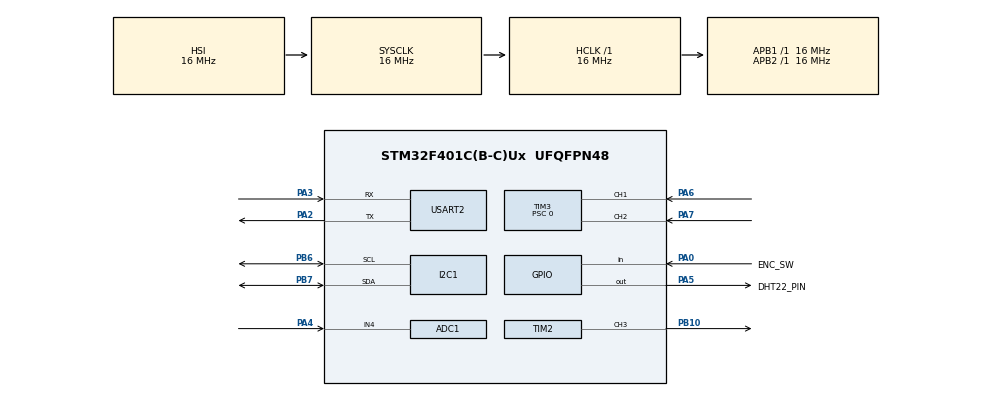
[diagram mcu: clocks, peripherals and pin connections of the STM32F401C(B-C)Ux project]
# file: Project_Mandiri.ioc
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ADC1.Channel-0\#ChannelRegularConversion=ADC_CHANNEL_4
ADC1.NbrOfConversionFlag=1
ADC1.Rank-0\#ChannelRegularConversion=1
ADC1.SamplingTime-0\#ChannelRegularConversion=ADC_SAMPLETIME_3CYCLES
ADC1.master=1
FREERTOS.BinarySemaphores01=RNGSemaphore,Dynamic,NULL,Available;BuzzerSemaphore,Dynamic,NULL,Available
FREERTOS.Mutexes01=I2CMutex,Dynamic,NULL,Available
FREERTOS.Tasks01=defaultTask,0,128,StartDefaultTask,Default,NULL,Dynamic,NULL,NULL;SensorTask,0,256,StartTaskSensor,Default,NULL,Dynamic,NULL,NULL;RNGTask,1,256,StartTaskRNG,Default,NULL,Dynamic,NULL,NULL;RotaryPageTask,0,128,StartTaskRotaryPage,Default,NULL,Dynamic,NULL,NULL;DisplayTask,-1,256,StartTaskDisplay,Default,NULL,Dynamic,NULL,NULL;EEPROMTask,-1,256,StartTaskEEPROM,Default,NULL,Dynamic,NULL,NULL;BuzzerTask,-1,128,StartTaskBuzzer,Default,NULL,Dynamic,NULL,NULL
FREERTOS.configUSE_NEWLIB_REENTRANT=1
I2C1.I2C_Mode=I2C_Fast
Mcu.Family=STM32F4
Mcu.Name=STM32F401C(B-C)Ux
Mcu.Package=UFQFPN48
NVIC.PriorityGroup=NVIC_PRIORITYGROUP_4
NVIC.TIM4_IRQn=true\:15\:0\:false\:false\:true\:false\:false\:true\:true
NVIC.TimeBase=TIM4_IRQn
NVIC.TimeBaseIP=TIM4
PA0-WKUP.GPIO_Label=ENC_SW
PA0-WKUP.GPIO_PuPd=GPIO_PULLUP
PA0-WKUP.Signal=GPIO_Input
PA2.Mode=Asynchronous
PA2.Signal=USART2_TX
PA3.Mode=Asynchronous
PA3.Signal=USART2_RX
PA4.Signal=ADCx_IN4
PA5.GPIO_Label=DHT22_PIN
PA5.GPIO_PuPd=GPIO_PULLUP
PA5.Signal=GPIO_Output
PA6.Signal=S_TIM3_CH1
PA7.Signal=S_TIM3_CH2
PB10.Signal=S_TIM2_CH3
PB6.Mode=I2C
PB6.Signal=I2C1_SCL
PB7.Mode=I2C
PB7.Signal=I2C1_SDA
ProjectManager.HeapSize=0x200
ProjectManager.StackSize=0x400
ProjectManager.TargetToolchain=STM32CubeIDE
RCC.AHBFreq_Value=16000000
RCC.APB1Freq_Value=16000000
RCC.APB2Freq_Value=16000000
RCC.CortexFreq_Value=16000000
RCC.HSE_VALUE=25000000
RCC.HSI_VALUE=16000000
RCC.LSE_VALUE=32768
RCC.SYSCLKFreq_VALUE=16000000
RCC.VCOOutputFreq_Value=192000000
SH.ADCx_IN4.0=ADC1_IN4,IN4
SH.S_TIM2_CH3.0=TIM2_CH3,PWM Generation3 CH3
SH.S_TIM3_CH1.0=TIM3_CH1,Encoder_Interface
SH.S_TIM3_CH2.0=TIM3_CH2,Encoder_Interface
TIM2.AutoReloadPreload=TIM_AUTORELOAD_PRELOAD_ENABLE
TIM2.Channel-PWM\ Generation3\ CH3=TIM_CHANNEL_3
TIM2.Period=1000-1
TIM2.Prescaler=84-1
TIM3.EncoderMode=TIM_ENCODERMODE_TI12
TIM3.Period=65535
TIM3.Prescaler=0
USART2.VirtualMode=VM_ASYNC
VP_FREERTOS_VS_CMSIS_V1.Mode=CMSIS_V1
VP_SYS_VS_tim4.Mode=TIM4
board=custom

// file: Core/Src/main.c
/* USER CODE BEGIN Header */
/**
  ******************************************************************************
  * @file           : main.c
  * @brief          : Main program body
  ******************************************************************************
  * @attention
  *
  * Copyright (c) 2026 STMicroelectronics.
  * All rights reserved.
  *
  * This software is licensed under terms that can be found in the LICENSE file
  * in the root directory of this software component.
  * If no LICENSE file comes with this software, it is provided AS-IS.
  *
  ******************************************************************************
  */
/* USER CODE END Header */
#include "main.h"
#include "cmsis_os.h"
#include "adc.h"
#include "i2c.h"
#include "tim.h"
#include "usart.h"
#include "gpio.h"

/* USER CODE BEGIN Includes */
#include <stdio.h>

/* USER CODE END Includes */

void SystemClock_Config(void);
void MX_FREERTOS_Init(void);

/* USER CODE BEGIN 0 */
#ifdef _GNUC_
int __io_putchar(int ch)
#else
int fputc(int ch, FILE *f)
#endif
{
    HAL_UART_Transmit(&huart2, (uint8_t *)&ch, 1, HAL_MAX_DELAY);
    return ch;
}

/* USER CODE END 0 */

int main(void)
{

  /* MCU Configuration--------------------------------------------------------*/

  /* Reset of all peripherals, Initializes the Flash interface and the Systick. */
  HAL_Init();

  /* Configure the system clock */
  SystemClock_Config();

  /* Initialize all configured peripherals */
  MX_GPIO_Init();
  MX_USART2_UART_Init();
  MX_TIM3_Init();
  MX_I2C1_Init();
  MX_TIM2_Init();
  MX_ADC1_Init();
  /* USER CODE BEGIN 2 */
  ssd1306_Init();
  HAL_TIM_Encoder_Start(&htim3, TIM_CHANNEL_ALL);

  /* USER CODE END 2 */

  /* Call init function for freertos objects (in cmsis_os2.c) */
  MX_FREERTOS_Init();

  /* Start scheduler */
  osKernelStart();

  /* We should never get here as control is now taken by the scheduler */

  /* Infinite loop */
  while (1)
  {

  }
}

void SystemClock_Config(void)
{
  RCC_OscInitTypeDef RCC_OscInitStruct = {0};
  RCC_ClkInitTypeDef RCC_ClkInitStruct = {0};

  /** Configure the main internal regulator output voltage
  */
  __HAL_RCC_PWR_CLK_ENABLE();
  __HAL_PWR_VOLTAGESCALING_CONFIG(PWR_REGULATOR_VOLTAGE_SCALE2);

  /** Initializes the RCC Oscillators according to the specified parameters
  * in the RCC_OscInitTypeDef structure.
  */
  RCC_OscInitStruct.OscillatorType = RCC_OSCILLATORTYPE_HSI;
  RCC_OscInitStruct.HSIState = RCC_HSI_ON;
  RCC_OscInitStruct.HSICalibrationValue = RCC_HSICALIBRATION_DEFAULT;
  RCC_OscInitStruct.PLL.PLLState = RCC_PLL_NONE;
  if (HAL_RCC_OscConfig(&RCC_OscInitStruct) != HAL_OK)
  {
    Error_Handler();
  }

  /** Initializes the CPU, AHB and APB buses clocks
  */
  RCC_ClkInitStruct.ClockType = RCC_CLOCKTYPE_HCLK|RCC_CLOCKTYPE_SYSCLK
                              |RCC_CLOCKTYPE_PCLK1|RCC_CLOCKTYPE_PCLK2;
  RCC_ClkInitStruct.SYSCLKSource = RCC_SYSCLKSOURCE_HSI;
  RCC_ClkInitStruct.AHBCLKDivider = RCC_SYSCLK_DIV1;
  RCC_ClkInitStruct.APB1CLKDivider = RCC_HCLK_DIV1;
  RCC_ClkInitStruct.APB2CLKDivider = RCC_HCLK_DIV1;

  if (HAL_RCC_ClockConfig(&RCC_ClkInitStruct, FLASH_LATENCY_0) != HAL_OK)
  {
    Error_Handler();
  }
}

void HAL_TIM_PeriodElapsedCallback(TIM_HandleTypeDef *htim)
{
  if (htim->Instance == TIM4)
  {
    HAL_IncTick();
  }
}

void Error_Handler(void)
{
  __disable_irq();
  while (1)
  {
  }
}

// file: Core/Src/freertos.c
/* USER CODE BEGIN Header */
/**
 ******************************************************************************
 * File Name          : freertos.c
 * Description        : Code for freertos applications
 ******************************************************************************
 * @attention
 *
 * Copyright (c) 2026 STMicroelectronics.
 * All rights reserved.
 *
 * This software is licensed under terms that can be found in the LICENSE file
 * in the root directory of this software component.
 * If no LICENSE file comes with this software, it is provided AS-IS.
 *
 ******************************************************************************
 */
/* USER CODE END Header */

#include "FreeRTOS.h"
#include "task.h"
#include "main.h"
#include "cmsis_os.h"

/* USER CODE BEGIN Includes */
#include "queue.h"
#include <stdio.h>
#include <string.h>
#include <stdlib.h>
#include "ssd1306.h"
#include "ssd1306_fonts.h"
#include "dice.h"
#include "coin.h"

/* USER CODE END Includes */

/* USER CODE BEGIN PTD */
typedef enum {
	DHT_OK = 0,
  DHT_ERR_TIMEOUT,
  DHT_ERR_CHECKSUM
} DHT_Status;

typedef enum {
	PAGE_DICE = 0,
  PAGE_COIN,
	PAGE_INFOS,
  PAGE_HISTORY
} page_t;

typedef enum {
  MODE_DICE = 0,
  MODE_COIN
} generator_mode_t;

typedef enum {
  ANIM_NONE,
  ANIM_DICE,
  ANIM_COIN
} animation_t;

typedef struct {
	int16_t suhu;
	uint16_t kelembapan;
	uint16_t ldr;
} sensor_data_t;

typedef struct {
    generator_mode_t mode;
    uint32_t seed;
    uint32_t value;
    int16_t suhu;
    uint16_t kelembapan;
    uint16_t ldr;
} display_data_t;

typedef struct {
  generator_mode_t mode;
  uint8_t value;
  uint32_t timestamp;
} eeprom_data_t;

/* USER CODE END PTD */

/* USER CODE BEGIN PD */
#define DHT_TIMEOUT_US	100

/* USER CODE END PD */

/* USER CODE BEGIN Variables */

extern ADC_HandleTypeDef hadc1;
extern UART_HandleTypeDef huart2;
extern TIM_HandleTypeDef htim3;
extern I2C_HandleTypeDef hi2c1;
extern TIM_HandleTypeDef htim2;

QueueHandle_t SensorQueueHandle;
QueueHandle_t DisplayQueueHandle;
QueueHandle_t EEPROMQueueHandle;

volatile page_t currentPage = PAGE_DICE;
volatile generator_mode_t currentMode = MODE_DICE;
volatile animation_t currentAnimation = ANIM_NONE;
volatile uint8_t show_encrypted = 0;

eeprom_data_t history_cache[5];
uint8_t history_count = 0;

// SAMPLE SECRET KEY
const uint8_t SECRET_KEY[8] = {0x5A, 0x3C, 0x7E, 0x18, 0x42, 0x81, 0xBD, 0xE7};

/* USER CODE END Variables */
osThreadId defaultTaskHandle;
osThreadId SensorTaskHandle;
osThreadId RNGTaskHandle;
osThreadId RotaryPageTaskHandle;
osThreadId DisplayTaskHandle;
osThreadId EEPROMTaskHandle;
osThreadId BuzzerTaskHandle;
osMutexId I2CMutexHandle;
osSemaphoreId RNGSemaphoreHandle;
osSemaphoreId BuzzerSemaphoreHandle;

/* USER CODE BEGIN FunctionPrototypes */
void delay_us(uint16_t us);
void Set_Pin_Output(GPIO_TypeDef *GPIOx, uint16_t GPIO_Pin);
void Set_Pin_Input(GPIO_TypeDef *GPIOx, uint16_t GPIO_Pin);
static DHT_Status DHT22_WaitPinState(GPIO_TypeDef *GPIOx, uint16_t pin, GPIO_PinState state);
DHT_Status DHT22_Read(int16_t *suhu, uint16_t *kelembapan);

/* USER CODE END FunctionPrototypes */

void StartDefaultTask(void const * argument);
void StartTaskSensor(void const * argument);
void StartTaskRNG(void const * argument);
void StartTaskRotaryPage(void const * argument);
void StartTaskDisplay(void const * argument);
void StartTaskEEPROM(void const * argument);
void StartTaskBuzzer(void const * argument);

void MX_FREERTOS_Init(void); /* (MISRA C 2004 rule 8.1) */

/* GetIdleTaskMemory prototype (linked to static allocation support) */
void vApplicationGetIdleTaskMemory( StaticTask_t **ppxIdleTaskTCBBuffer, StackType_t **ppxIdleTaskStackBuffer, uint32_t *pulIdleTaskStackSize );

/* USER CODE BEGIN GET_IDLE_TASK_MEMORY */
static StaticTask_t xIdleTaskTCBBuffer;
static StackType_t xIdleStack[configMINIMAL_STACK_SIZE];

void vApplicationGetIdleTaskMemory(StaticTask_t **ppxIdleTaskTCBBuffer,
		StackType_t **ppxIdleTaskStackBuffer, uint32_t *pulIdleTaskStackSize) {
	*ppxIdleTaskTCBBuffer = &xIdleTaskTCBBuffer;
	*ppxIdleTaskStackBuffer = &xIdleStack[0];
	*pulIdleTaskStackSize = configMINIMAL_STACK_SIZE;
	/* place for user code */
}
/* USER CODE END GET_IDLE_TASK_MEMORY */

void MX_FREERTOS_Init(void) {
  /* Create the mutex(es) */
  /* definition and creation of I2CMutex */
  osMutexDef(I2CMutex);
  I2CMutexHandle = osMutexCreate(osMutex(I2CMutex));

  /* Create the semaphores(s) */
  /* definition and creation of RNGSemaphore */
  osSemaphoreDef(RNGSemaphore);
  RNGSemaphoreHandle = osSemaphoreCreate(osSemaphore(RNGSemaphore), 1);

  /* definition and creation of BuzzerSemaphore */
  osSemaphoreDef(BuzzerSemaphore);
  BuzzerSemaphoreHandle = osSemaphoreCreate(osSemaphore(BuzzerSemaphore), 1);

  /* USER CODE BEGIN RTOS_QUEUES */
	/* add queues, ... */
  SensorQueueHandle = xQueueCreate(1, sizeof(sensor_data_t));
  DisplayQueueHandle = xQueueCreate(1, sizeof(display_data_t));
  EEPROMQueueHandle = xQueueCreate(1, sizeof(eeprom_data_t));

  /* USER CODE END RTOS_QUEUES */

  /* Create the thread(s) */
  /* definition and creation of defaultTask */
  osThreadDef(defaultTask, StartDefaultTask, osPriorityNormal, 0, 128);
  defaultTaskHandle = osThreadCreate(osThread(defaultTask), NULL);

  /* definition and creation of SensorTask */
  osThreadDef(SensorTask, StartTaskSensor, osPriorityNormal, 0, 256);
  SensorTaskHandle = osThreadCreate(osThread(SensorTask), NULL);

  /* definition and creation of RNGTask */
  osThreadDef(RNGTask, StartTaskRNG, osPriorityAboveNormal, 0, 256);
  RNGTaskHandle = osThreadCreate(osThread(RNGTask), NULL);

  /* definition and creation of RotaryPageTask */
  osThreadDef(RotaryPageTask, StartTaskRotaryPage, osPriorityNormal, 0, 128);
  RotaryPageTaskHandle = osThreadCreate(osThread(RotaryPageTask), NULL);

  /* definition and creation of DisplayTask */
  osThreadDef(DisplayTask, StartTaskDisplay, osPriorityBelowNormal, 0, 256);
  DisplayTaskHandle = osThreadCreate(osThread(DisplayTask), NULL);

  /* definition and creation of EEPROMTask */
  osThreadDef(EEPROMTask, StartTaskEEPROM, osPriorityBelowNormal, 0, 256);
  EEPROMTaskHandle = osThreadCreate(osThread(EEPROMTask), NULL);

  /* definition and creation of BuzzerTask */
  osThreadDef(BuzzerTask, StartTaskBuzzer, osPriorityBelowNormal, 0, 128);
  BuzzerTaskHandle = osThreadCreate(osThread(BuzzerTask), NULL);

}

void StartDefaultTask(void const * argument)
{
	for (;;) {
		osDelay(1);
	}
}

void StartTaskSensor(void const * argument)
{
  /* USER CODE BEGIN StartTaskSensor */
	sensor_data_t sensor;

	/* Infinite loop */
	for (;;) {
    sensor = (sensor_data_t){0};

		DHT22_Read(&sensor.suhu, &sensor.kelembapan);

		HAL_ADC_Start(&hadc1);

		if (HAL_ADC_PollForConversion(&hadc1, 10) == HAL_OK) {
			sensor.ldr = HAL_ADC_GetValue(&hadc1);
		}

		HAL_ADC_Stop(&hadc1);
    xQueueOverwrite(SensorQueueHandle, &sensor);
		osDelay(2000);
	}
  /* USER CODE END StartTaskSensor */
}

void StartTaskRNG(void const * argument)
{
  /* USER CODE BEGIN StartTaskRNG */
  sensor_data_t sensor;
  display_data_t display;
  eeprom_data_t eeprom;

  uint32_t seed;

  /* Infinite loop */
  for(;;)
  {
    osSemaphoreWait(RNGSemaphoreHandle, osWaitForever);
    osSemaphoreRelease(BuzzerSemaphoreHandle);

    xQueuePeek(SensorQueueHandle, &sensor, portMAX_DELAY);

    seed = ((uint32_t)sensor.suhu << 16)
      ^ ((uint32_t)sensor.kelembapan << 8)
      ^ sensor.ldr
      ^ HAL_GetTick();

    srand(seed);

    switch(currentMode) {
      case MODE_DICE:
        display.value = (rand() % 6) + 1;
        break;
      case MODE_COIN:
        display.value = rand() & 1;
        break;
    }

    display.mode = currentMode;
    display.seed = seed;

    eeprom.mode = currentMode;
    eeprom.value = (uint8_t)display.value;
    eeprom.timestamp = HAL_GetTick();

    xQueueOverwrite(DisplayQueueHandle, &display);
    xQueueOverwrite(EEPROMQueueHandle, &eeprom);

    switch(currentMode) {
      case MODE_DICE:
          currentAnimation = ANIM_DICE;
          break;
      case MODE_COIN:
          currentAnimation = ANIM_COIN;
          break;
      default:
          currentAnimation = ANIM_NONE;
      }
    }
  /* USER CODE END StartTaskRNG */
}

void StartTaskRotaryPage(void const * argument)
{
  /* USER CODE BEGIN StartTaskRotaryPage */
    uint16_t lastCount;
    uint16_t currentCount;

    GPIO_PinState lastButton = GPIO_PIN_SET;

    HAL_TIM_Encoder_Start(&htim3, TIM_CHANNEL_ALL);

    lastCount = __HAL_TIM_GET_COUNTER(&htim3);

  /* Infinite loop */
  for(;;)
  {
    GPIO_PinState button = HAL_GPIO_ReadPin(GPIOA, GPIO_PIN_0);

    if (lastButton == GPIO_PIN_SET && button == GPIO_PIN_RESET) {
      if (currentPage == PAGE_DICE) {
        currentMode = MODE_DICE;
        osSemaphoreRelease(RNGSemaphoreHandle);
      } else if (currentPage == PAGE_COIN) {
        currentMode = MODE_COIN;
        osSemaphoreRelease(RNGSemaphoreHandle);
      } else if (currentPage == PAGE_HISTORY) {
        show_encrypted = !show_encrypted;
      }
    }

    lastButton = button;
    currentCount = __HAL_TIM_GET_COUNTER(&htim3);

    if (currentCount != lastCount) {
      show_encrypted = 0;

      if ((int16_t)(currentCount - lastCount) > 0) {
        /* Clockwise */
        currentPage++;

        if (currentPage > PAGE_HISTORY)
          currentPage = PAGE_DICE;
      } else {
        /* Counter-clockwise */
        if (currentPage == PAGE_DICE)
          currentPage = PAGE_HISTORY;
        else
          currentPage--;
      }

      lastCount = currentCount;
    }

    osDelay(10);
  }
  /* USER CODE END StartTaskRotaryPage */
}

void StartTaskDisplay(void const * argument)
{
  /* USER CODE BEGIN StartTaskDisplay */
  display_data_t display;
  sensor_data_t sensor;

  char buf[32];

  /* Infinite loop */
  for(;;)
  {
    xQueuePeek(DisplayQueueHandle, &display, 0);
    xQueuePeek(SensorQueueHandle, &sensor, 0);

    if (currentAnimation == ANIM_DICE && currentPage == PAGE_DICE) {
      OLED_AnimateDice(display.value);
      currentAnimation = ANIM_NONE;
    } else if (currentAnimation == ANIM_COIN && currentPage == PAGE_COIN) {
      OLED_AnimateCoin(display.value);
      currentAnimation = ANIM_NONE;
    }

    ssd1306_Fill(Black);
	  ssd1306_SetCursor(0, 0);

    switch(currentPage) {
      case PAGE_DICE:
        ssd1306_SetCursor(0, 0);
        ssd1306_WriteString("DICE RNG", Font_6x8, White);

        ssd1306_SetCursor(32, 56);
        ssd1306_WriteString("Press ENC > Roll", Font_6x8, White);

        OLED_DrawDice((display.mode == MODE_DICE && display.value > 0) ? display.value : 1, 0, 0);
        break;

      case PAGE_COIN:
        ssd1306_SetCursor(0, 0);
        ssd1306_WriteString("COIN RNG", Font_6x8, White);

        ssd1306_SetCursor(32, 56);
        ssd1306_WriteString("Press ENC > Flip", Font_6x8, White);

        OLED_DrawCoin((display.mode == MODE_COIN) ? display.value : 0, 0);
        break;

      case PAGE_INFOS:
        ssd1306_SetCursor(0, 0);
        ssd1306_WriteString("INFO PAGE", Font_6x8, White);

        sprintf(buf, "Temp: %d.%d C", sensor.suhu / 10, abs(sensor.suhu) % 10);
        ssd1306_SetCursor(0, 15);
        ssd1306_WriteString(buf, Font_6x8, White);

        sprintf(buf, "Humid: %u.%u %%", sensor.kelembapan / 10, sensor.kelembapan % 10);
        ssd1306_SetCursor(0, 24);
        ssd1306_WriteString(buf, Font_6x8, White);

        sprintf(buf, "LDR: %u Raw", sensor.ldr);
        ssd1306_SetCursor(0, 33);
        ssd1306_WriteString(buf, Font_6x8, White);

        sprintf(buf, "Seed: %lu", display.seed);
        ssd1306_SetCursor(0, 42);
        ssd1306_WriteString(buf, Font_6x8, White);

        ssd1306_SetCursor(0, 56);
        ssd1306_WriteString("(C) Rickyslash 2026", Font_6x8, White);
        break;

      case PAGE_HISTORY:
        if (show_encrypted) {
          ssd1306_WriteString("HISTORY (ENCRYPT-RAW)", Font_6x8, White);

          for(int i = 0; i < history_count; i++) {
            uint8_t raw[8] = {0};
            raw[0] = (uint8_t)history_cache[i].mode;
            raw[1] = history_cache[i].value;
            raw[2] = (history_cache[i].timestamp >> 24) & 0xFF;
            raw[3] = (history_cache[i].timestamp >> 16) & 0xFF;
            raw[4] = (history_cache[i].timestamp >> 8) & 0xFF;
            raw[5] = history_cache[i].timestamp & 0xFF;

            for(int k = 0; k < 6; k++) {
              raw[k] ^= SECRET_KEY[k];
            }

            sprintf(buf, "%d: %02X %02X %02X %02X %02X %02X", i+1, raw[0], raw[1], raw[2], raw[3], raw[4], raw[5]);

            ssd1306_SetCursor(0, 15 + (i * 9));
            ssd1306_WriteString(buf, Font_6x8, White);
          }
        } else {
          ssd1306_WriteString("HISTORY (RNG)", Font_6x8, White);
          for(int i = 0; i < history_count; i++) {
            const char *m;

            switch (history_cache[i].mode) {
              case MODE_DICE:
                m = "Dice";
                break;
              case MODE_COIN:
                m = "Coin";
                break;
              default:
                m = "????";
                break;
            }

            uint32_t total_seconds = history_cache[i].timestamp / 1000;
            uint32_t hours   = total_seconds / 3600;
            uint32_t minutes = (total_seconds % 3600) / 60;
            uint32_t seconds = total_seconds % 60;

            if (history_cache[i].mode == MODE_COIN) {
              sprintf(buf,
                "%s: %c | %02lu:%02lu:%02lu",
                m,
                history_cache[i].value ? 'H' : 'T',
                (unsigned long)hours,
                (unsigned long)minutes,
                (unsigned long)seconds);
            } else {
              sprintf(buf,
                "%s: %d | %02lu:%02lu:%02lu",
                m,
                history_cache[i].value,
                (unsigned long)hours,
                (unsigned long)minutes,
                (unsigned long)seconds);
            }

            ssd1306_SetCursor(0, 15 + (i * 9));
            ssd1306_WriteString(buf, Font_6x8, White);
          }
        }
        break;
    }

    osMutexWait(I2CMutexHandle, osWaitForever);
	  ssd1306_UpdateScreen();
    osMutexRelease(I2CMutexHandle);

	  osDelay(50);
  }
  /* USER CODE END StartTaskDisplay */
}

void StartTaskEEPROM(void const * argument)
{
  /* USER CODE BEGIN StartTaskEEPROM */
  eeprom_data_t eeprom;

  uint8_t header[2] = {0, 0};
  uint8_t current_index = 0;
  uint8_t total_count = 0;

  const uint8_t EEPROM_ADDR = 0xA0;
  const uint8_t MAX_RECORDS = 23;

  osMutexWait(I2CMutexHandle, osWaitForever);
  HAL_I2C_Mem_Read(&hi2c1, EEPROM_ADDR, 0x00, I2C_MEMADD_SIZE_8BIT, header, 2, 100);
  osMutexRelease(I2CMutexHandle);

  current_index = header[0];
  total_count = header[1];

  if (current_index >= MAX_RECORDS || total_count > MAX_RECORDS) {
      current_index = 0;
      total_count = 0;
  }

  history_count = (total_count < 5) ? total_count : 5;

  uint8_t read_idx = current_index;

  for (int i = 0; i < history_count; i++) {
    read_idx = (read_idx == 0) ? (MAX_RECORDS - 1) : (read_idx - 1);

    uint8_t read_buf[8];
    osMutexWait(I2CMutexHandle, osWaitForever);
    HAL_I2C_Mem_Read(&hi2c1, EEPROM_ADDR, 8 + (read_idx * 8), I2C_MEMADD_SIZE_8BIT, read_buf, 8, 100);
    osMutexRelease(I2CMutexHandle);

    for(int k = 0; k < 8; k++) {
      read_buf[k] ^= SECRET_KEY[k];
    }

    history_cache[i].mode = (generator_mode_t)read_buf[0];
    history_cache[i].value = read_buf[1];
    history_cache[i].timestamp = ((uint32_t)read_buf[2] << 24) | ((uint32_t)read_buf[3] << 16) | ((uint32_t)read_buf[4] << 8) | read_buf[5];
  }
  /* Infinite loop */
  for(;;)
  {
    if (xQueueReceive(EEPROMQueueHandle, &eeprom, portMAX_DELAY) == pdTRUE) {
      uint8_t write_buf[8] = {0};
      write_buf[0] = (uint8_t)eeprom.mode;
      write_buf[1] = eeprom.value;
      write_buf[2] = (eeprom.timestamp >> 24) & 0xFF;
      write_buf[3] = (eeprom.timestamp >> 16) & 0xFF;
      write_buf[4] = (eeprom.timestamp >> 8) & 0xFF;
      write_buf[5] = eeprom.timestamp & 0xFF;

      for(int k = 0; k < 8; k++) {
        write_buf[k] ^= SECRET_KEY[k];
      }

      uint16_t mem_addr = 8 + (current_index * 8);

      osMutexWait(I2CMutexHandle, osWaitForever);
      HAL_I2C_Mem_Write(&hi2c1, EEPROM_ADDR, mem_addr, I2C_MEMADD_SIZE_8BIT, write_buf, 8, 100);
      osMutexRelease(I2CMutexHandle);
      osDelay(5);

      current_index++;
      if (current_index >= MAX_RECORDS) current_index = 0;
      if (total_count < MAX_RECORDS) total_count++;

      header[0] = current_index;
      header[1] = total_count;

      osMutexWait(I2CMutexHandle, osWaitForever);
      HAL_I2C_Mem_Write(&hi2c1, EEPROM_ADDR, 0x00, I2C_MEMADD_SIZE_8BIT, header, 2, 100);
      osMutexRelease(I2CMutexHandle);
      osDelay(5);

      if (history_count < 5) history_count++;
      for(int i = history_count - 1; i > 0; i--) {
          history_cache[i] = history_cache[i-1];
      }

      history_cache[0] = eeprom;
    }
  }
  /* USER CODE END StartTaskEEPROM */
}

void StartTaskBuzzer(void const * argument)
{
  /* USER CODE BEGIN StartTaskBuzzer */
  /* Infinite loop */
  for(;;)
  {
    osSemaphoreWait(BuzzerSemaphoreHandle, osWaitForever);

    HAL_TIM_PWM_Start(&htim2, TIM_CHANNEL_3);

    __HAL_TIM_SET_AUTORELOAD(&htim2, 1000);
    __HAL_TIM_SET_COMPARE(&htim2, TIM_CHANNEL_3, 500);
    osDelay(40);

    __HAL_TIM_SET_AUTORELOAD(&htim2, 750);
    __HAL_TIM_SET_COMPARE(&htim2, TIM_CHANNEL_3, 375);
    osDelay(40);

    __HAL_TIM_SET_AUTORELOAD(&htim2, 500);
    __HAL_TIM_SET_COMPARE(&htim2, TIM_CHANNEL_3, 250);
    osDelay(80);

    HAL_TIM_PWM_Stop(&htim2, TIM_CHANNEL_3);
  }
  /* USER CODE END StartTaskBuzzer */
}

/* USER CODE BEGIN Application */
void delay_us(uint16_t us) {
	CoreDebug->DEMCR |= CoreDebug_DEMCR_TRCENA_Msk;
	DWT->CTRL |= DWT_CTRL_CYCCNTENA_Msk;

	uint32_t start = DWT->CYCCNT;
	uint32_t ticks = us * (HAL_RCC_GetHCLKFreq() / 1000000);

	while ((DWT->CYCCNT - start) < ticks);
}

void Set_Pin_Output(GPIO_TypeDef *GPIOx, uint16_t GPIO_Pin) {
	GPIO_InitTypeDef GPIO_InitStruct = { 0 };

	GPIO_InitStruct.Pin = GPIO_Pin;
	GPIO_InitStruct.Mode = GPIO_MODE_OUTPUT_PP;
	GPIO_InitStruct.Speed = GPIO_SPEED_FREQ_LOW;

	HAL_GPIO_Init(GPIOx, &GPIO_InitStruct);
}

void Set_Pin_Input(GPIO_TypeDef *GPIOx, uint16_t GPIO_Pin) {
	GPIO_InitTypeDef GPIO_InitStruct = { 0 };

	GPIO_InitStruct.Pin = GPIO_Pin;
	GPIO_InitStruct.Mode = GPIO_MODE_INPUT;
	GPIO_InitStruct.Pull = GPIO_PULLUP;

	HAL_GPIO_Init(GPIOx, &GPIO_InitStruct);
}

static DHT_Status DHT22_WaitPinState(GPIO_TypeDef *GPIOx, uint16_t pin,
		GPIO_PinState state) {
	uint32_t t = 0;

	while (HAL_GPIO_ReadPin(GPIOx, pin) != state) {
		delay_us(1);

		if (++t > DHT_TIMEOUT_US)
			return DHT_ERR_TIMEOUT;
	}

	return DHT_OK;
}

DHT_Status DHT22_Read(int16_t *suhu, uint16_t *kelembapan) {
	uint8_t dht_data[5] = { 0 };
	DHT_Status st;

	Set_Pin_Output(GPIOA, GPIO_PIN_5);
	HAL_GPIO_WritePin(GPIOA, GPIO_PIN_5, GPIO_PIN_RESET);
	HAL_Delay(18);

	HAL_GPIO_WritePin(GPIOA, GPIO_PIN_5, GPIO_PIN_SET);
	delay_us(20);
	Set_Pin_Input(GPIOA, GPIO_PIN_5);

	taskENTER_CRITICAL();

	if ((st = DHT22_WaitPinState(GPIOA, GPIO_PIN_5, GPIO_PIN_RESET)) != DHT_OK) { taskEXIT_CRITICAL(); return st; }
	if ((st = DHT22_WaitPinState(GPIOA, GPIO_PIN_5, GPIO_PIN_SET))   != DHT_OK) { taskEXIT_CRITICAL(); return st; }
	if ((st = DHT22_WaitPinState(GPIOA, GPIO_PIN_5, GPIO_PIN_RESET)) != DHT_OK) { taskEXIT_CRITICAL(); return st; }

	for (int i = 0; i < 5; i++) {
		for (int j = 7; j >= 0; j--) {
			if ((st = DHT22_WaitPinState(GPIOA, GPIO_PIN_5, GPIO_PIN_SET)) != DHT_OK)
				return st;

			delay_us(40);

			if (HAL_GPIO_ReadPin(GPIOA, GPIO_PIN_5)) {
				dht_data[i] |= (1 << j);

				if ((st = DHT22_WaitPinState(GPIOA, GPIO_PIN_5, GPIO_PIN_RESET)) != DHT_OK)
					return st;
			}
		}
	}

	taskEXIT_CRITICAL();

	uint8_t sum = dht_data[0] + dht_data[1] + dht_data[2] + dht_data[3];

	if (sum != dht_data[4])
		return DHT_ERR_CHECKSUM;

	*kelembapan = (dht_data[0] << 8) | dht_data[1];

	uint16_t raw_suhu = ((dht_data[2] & 0x7F) << 8) | dht_data[3];

	*suhu = (dht_data[2] & 0x80) ? -(int16_t) raw_suhu : (int16_t) raw_suhu;

	return DHT_OK;
}

/* USER CODE END Application */
